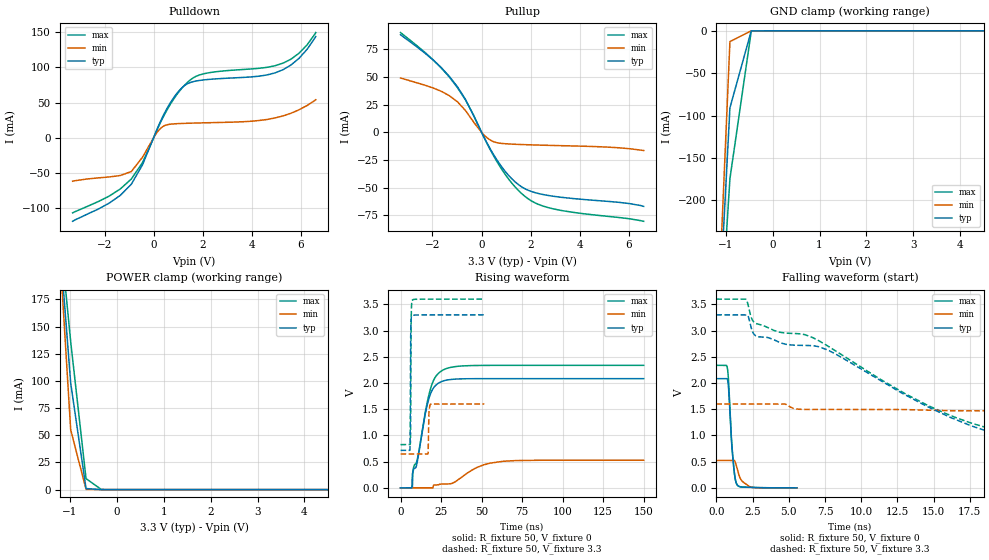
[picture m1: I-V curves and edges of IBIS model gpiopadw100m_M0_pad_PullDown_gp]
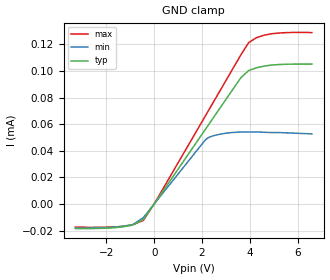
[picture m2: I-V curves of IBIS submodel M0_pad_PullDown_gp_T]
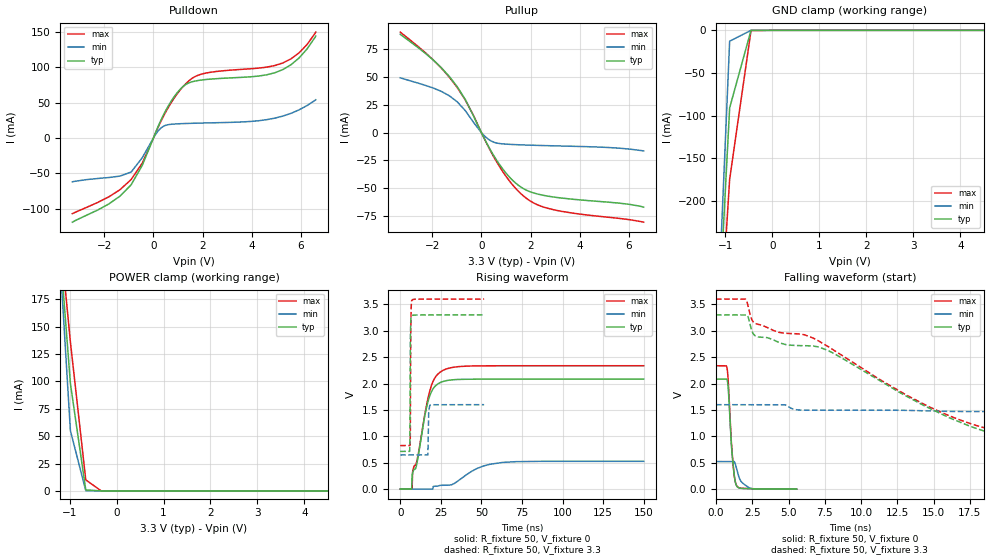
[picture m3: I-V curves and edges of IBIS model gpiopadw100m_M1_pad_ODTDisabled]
|   - ATMEL Microcontrollers -
|   IBIS model for SAM0D20_TQFP48
[IBIS Ver]   4.2
[Comment char]  |_char
[File Name]   sam0d20_3t48.ibs
[File Rev]   1.0
[Date]   6-MAY-2013 17:23:47
[Source]   By GENIBIS V3.2b - GENerate chip IBIS model - 29-APR-2013
[Notes]   Property of ATMEL Corporation
[Disclaimer]
                  (C) Copyright ATMEL Nantes 2002-2013
Atmel Nantes makes no warranty for the use of its products, other than
those expressly contained in the Company's standard warranty which is detailed
in Atmel's Terms and Conditions located on the Company's web site. The Company
assumes no responsability for any errors which may appear in this document.
The user is granted this license only to use the IBIS model and is not granted
rights to sell, load, rent, lease or license the IBIS model in whole or in part,
or in modified form to anyone other than user. User may modify the IBIS model
to suit its specific applications but rights to derivative works and such
modifications shall belong to Atmel Nantes.
This IBIS model is provided on an \"AS IS\" basis and Atmel Nantes makes
absolutely no warranty with respect to the information contained herein.
[Copyright]   Copyright (c) 2002-2013 by ATMEL Nantes SA
|   COMPONENT : SAM0D20_TQFP48
[Component]   SAM0D20_TQFP48
[Manufacturer]  ATMEL Nantes SAS
[Package]
| Package family : TQFP_L
| RLC file   : V1.0
| RLCEDIT tool   : V1.10-2005/10/06
| variable   typ   min   max
R_pkg   129.04m   76.55m   157.56m
L_pkg   3.85n   2.63n   4.53n
C_pkg   283.88f   266.97f   299.68f
[Pin]   signal_name   model_name   R_pin   L_pin   C_pin
|   Real model names   <--->   IBIS model names
|   gpiopadw100m33v1p66k25   gpiopadw100m
|   gpiopadw100m33v1p66k25   gpiopadw100m
|   gpiopadw100m33v1p66k25   gpiopadw100m
|  gpiopadtwifsmw100m33v1p66k25   gpiopadtwifsmw100m
|  gpiopadtwifsmw100m33v1p66k25   gpiopadtwifsmw100m
|  gpiopadtwifsmw100m33v1p66k25   gpiopadtwifsmw100m
|  gpiopadtwifsmw100m33v1p66k25   gpiopadtwifsmw100m
   1   PA00   gpiopadw100m  143.76m   4.16n  283.81f
   2   PA01   gpiopadw100m  134.99m   3.97n  283.43f
   3   PA02   gpiopadw100m  130.80m   3.88n  283.25f
   4   PA03   gpiopadw100m  128.98m   3.85n  283.17f
   5   GNDANA   GND   80.50m   2.80n  289.68f
   6   VDDANA   POWER   92.10m   3.05n  286.31f
   7   PB08   gpiopadw100m  126.88m   3.80n  283.08f
   8   PB09   gpiopadw100m  124.32m   3.75n  282.97f
   9   PA04   gpiopadw100m  125.51m   3.77n  283.02f
   10   PA05   gpiopadw100m  125.94m   3.78n  283.04f
   11   PA06   gpiopadw100m  131.47m   3.90n  283.28f
   12   PA07   gpiopadw100m  139.45m   4.07n  283.63f
   13   PA08   gpiopadtwifsmw100m  153.61m   4.37n  284.24f
   14   PA09   gpiopadtwifsmw100m  145.44m   4.20n  283.88f
   15   PA10   gpiopadw100m  137.95m   4.04n  283.56f
   16   PA11   gpiopadw100m  132.62m   3.92n  283.33f
   17   VDDIO   POWER  130.16m   3.87n  283.22f
   18   GND   GND  130.89m   3.89n  283.26f
   19   PB10   gpiopadw100m  133.52m   3.94n  283.37f
   20   PB11   gpiopadw100m  138.36m   4.05n  283.58f
   21   PA12   gpiopadtwifsmw100m  136.25m   4.00n  283.49f
   22   PA13   gpiopadtwifsmw100m  142.52m   4.14n  283.76f
   23   PA14   gpiopadw100m  148.55m   4.27n  284.02f
   24   PA15   gpiopadw100m  148.24m   4.26n  284.01f
   25   PA16   gpiopadtwifsmw100m  100.27m   3.23n  287.72f
   26   PA17   gpiopadtwifsmw100m  137.72m   4.03n  283.55f
   27   PA18   gpiopadw100m  130.18m   3.87n  283.22f
   28   PA19   gpiopadw100m  125.43m   3.77n  283.02f
   29   PA20   gpiopadw100m  129.30m   3.85n  283.19f
   30   PA21   gpiopadw100m  125.99m   3.78n  283.04f
   31   PA22   gpiopadtwifsmw100m  125.09m   3.76n  283.00f
   32   PA23   gpiopadtwifsmw100m  125.02m   3.76n  283.00f
   33   PA24   gpiopadw100m  128.21m   3.83n  283.14f
   34   PA25   gpiopadw100m  134.23m   3.96n  283.40f
   35   GND   GND  135.36m   3.98n  283.45f
   36   VDDIO   POWER  144.31m   4.17n  283.84f
   37   PB22   gpiopadw100m  140.74m   4.10n  283.68f
   38   PB23   gpiopadw100m  134.03m   3.95n  283.39f
   39   PA27   gpiopadw100m  130.29m   3.87n  283.23f
   40   RESET_N   gpiopadw100m  129.13m   3.85n  283.18f
   41   PA28   gpiopadw100m  131.60m   3.90n  283.29f
   42   GND   GND   94.62m   3.11n  286.74f
   43   VDDCORE   POWER   93.43m   3.08n  286.54f
   44   VDDIO   POWER   92.76m   3.07n  286.42f
   45   PA30   gpiopadw100m  131.15m   3.89n  283.27f
   46   PA31   gpiopadw100m  135.83m   3.99n  283.47f
   47   PB02   gpiopadw100m  134.03m   3.95n  283.39f
   48   PB03   gpiopadw100m  142.44m   4.13n  283.75f
|   MODEL SELECTOR : gpiopadtwifsmw100m
[Model Selector]   gpiopadtwifsmw100m
gpiopadtwifsmw100m_M3_pad_twi   twi mode
gpiopadtwifsmw100m_M2_pad_puodt_gpiop   pull up odt
gpiopadtwifsmw100m_M1_pad_noodt_gpiop   odt disabled
gpiopadtwifsmw100m_M0_pad_pdodt_gpiop   pull down odt
|   MODEL SELECTOR : gpiopadw100m
[Model Selector]   gpiopadw100m
gpiopadw100m_M2_pad_PullUp_gpio   Pull Up
gpiopadw100m_M1_pad_ODTDisabled   ODT Disabled
gpiopadw100m_M0_pad_PullDown_gp   Pull Down
| Models and submodels in the file (11): gpiopadw100m_M0_pad_PullDown_gp (I/O), M0_pad_PullDown_gp_T (Dynamic_clamp), gpiopadw100m_M1_pad_ODTDisabled (I/O), gpiopadw100m_M2_pad_PullUp_gpio (I/O), M2_pad_PullUp_gpio_T (Dynamic_clamp), gpiopadtwifsmw100m_M0_pad_pdodt_gpiop (I/O), M0_pad_pdodt_gpiop_T (Dynamic_clamp), gpiopadtwifsmw100m_M1_pad_noodt_gpiop (I/O), gpiopadtwifsmw100m_M2_pad_puodt_gpiop (I/O), M2_pad_puodt_gpiop_T (Dynamic_clamp), gpiopadtwifsmw100m_M3_pad_twi (I/O_open_sink)
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|   MODEL : gpiopadw100m_M0_pad_PullDown_gp
[Model] gpiopadw100m_M0_pad_PullDown_gp
Model_type I/O
Vinl  =  0.99
Vinh  =  2.31
Vmeas =  1.650
| Capacitance   typ   min   max
C_comp   1.24002p   1.23763p   1.27582p
| Variables   typ   min   max
[GND Clamp Reference]   0   0   0
[POWER Clamp Reference]   3.3   1.6   3.6
[Pulldown Reference]   0   0   0
[Pullup Reference]   3.3   1.6   3.6
[Temperature Range]   25   -40   105
[Voltage Range]   3.3   1.6   3.6
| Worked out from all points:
|   slope of the pulldown table from 0 to 0.495 V, typ, clamps not added: 12.9 ohm
|   slope of the pullup table from 0 to 0.495 V, typ, clamps not added: 24.3 ohm
|   falling waveform, R_fixture 50, V_fixture 0: 20-80 % time 299ps typ, 492ps min, 300ps max; typ from 2.08 V to 0.001 V
|   falling waveform, R_fixture 50, V_fixture 3.3: 20-80 % time 12.8ns typ, 35ns min, 12.5ns max; typ from 3.3 V to 0.715 V
|   rising waveform, R_fixture 50, V_fixture 0: 20-80 % time 7.4ns typ, 16.7ns min, 8.69ns max; typ from 0 V to 2.08 V
|   rising waveform, R_fixture 50, V_fixture 3.3: 20-80 % time 217ps typ, 319ps min, 221ps max; typ from 0.715 V to 3.3 V
[GND Clamp]
| Voltage   I(typ)   I(min)   I(max)
-3.3V     -2.634A    -3.19A     -2.302A
-1.364V   -570.8mA   -594.8mA   -573.1mA
-909.1mV  -90.85mA   -12.72mA   -174.6mA
-454.5mV  -20.67uA   -222.6nA   -356.4uA
6.6V      0A         0A         0A
[POWER Clamp]
| Voltage   I(typ)   I(min)   I(max)
-3.3V     1.751A     2.103A     1.493A
-1.309V   280.3mA    286mA      281.7mA
-981.8mV  98.06mA    55.04mA    136mA
-654.5mV  963uA      216.9uA    10.07mA
-327.3mV  1.354uA    8.417nA    98.06uA
6.6V      0A         0A         0A
[Pulldown]
| Voltage   I(typ)   I(min)   I(max)
-3.3V     -119mA     -61.98mA   -107mA
-1.818V   -93.33mA   -55.91mA   -83.28mA
-909.1mV  -66.28mA   -48.18mA   -58.8mA
-454.5mV  -38.59mA   -27.85mA   -35.52mA
309.4mV   25.56mA    14.14mA    23.9mA
773.4mV   54.8mA     19.53mA    52.8mA
1.238V    73.69mA    20.38mA    73.94mA
1.598V    79.67mA    20.77mA    84.92mA
2.062V    82.36mA    21.18mA    91.19mA
4.936V    92.21mA    28.04mA    102.4mA
5.918V    113mA      39.7mA     120.2mA
6.6V      144.1mA    54mA       149.7mA
[Pullup]
| Voltage   I(typ)   I(min)   I(max)
-3.3V     88.24mA    49.15mA    90.19mA
-1.964V   65.21mA    40.03mA    65.35mA
-981.8mV  41.15mA    27.61mA    40.42mA
-654.5mV  29.72mA    19.7mA     29.25mA
-327.3mV  15.24mA    9.418mA    15.62mA
51.56mV   -2.336mA   -1.279mA   -2.314mA
360.9mV   -15.31mA   -7.05mA    -16.02mA
1.083V    -38.48mA   -10.47mA   -41.7mA
1.805V    -51.42mA   -11.17mA   -58.57mA
2.32V     -55.33mA   -11.52mA   -65.17mA
3.042V    -58.15mA   -11.95mA   -69.75mA
6.6V      -66.94mA   -16.45mA   -80.43mA
[Ramp]
dV/dt_r   1.24997/7.40251n  0.314091/16.5147n  1.40232/8.68884n
dV/dt_f   1.55089/12.8345n  0.573997/35.0183n  1.66518/12.5246n
R_load = 50
[Falling Waveform]
R_fixture = 50
V_fixture = 0
V_fixture_min = 0
V_fixture_max = 0
| Time   V(typ)   V(min)   V(max)
0s        2.083V     523.3mV    2.337V
766.8ps   2.071V     523.3mV    2.283V
859.1ps   1.854V     523.3mV    1.98V
1.016ns   1.031V     523.3mV    1.086V
1.166ns   507.3mV    523.3mV    511.5mV
1.301ns   182.1mV    499mV      180.2mV
1.456ns   49.46mV    351.4mV    51.8mV
1.737ns   16.79mV    143.7mV    17.7mV
2.377ns   11.46mV    15.09mV    11.25mV
5.563ns   974.4uV    463.6uV    868.6uV
[Falling Waveform]
R_fixture = 50
V_fixture = 3.3
V_fixture_min = 1.6
V_fixture_max = 3.6
| Time   V(typ)   V(min)   V(max)
0s        3.3V       1.6V       3.6V
2.025ns   3.299V     1.599V     3.599V
2.467ns   3.006V     1.599V     3.213V
2.726ns   2.9V       1.599V     3.135V
7.623ns   2.639V     1.496V     2.718V
16.56ns   1.298V     1.471V     1.337V
19.86ns   995.9mV    1.47V      1.078V
23.59ns   851.1mV    1.469V     959.9mV
75.53ns   715.4mV    777.3mV    825.1mV
150ns     715mV      643.3mV    824.6mV
[Rising Waveform]
R_fixture = 50
V_fixture = 0
V_fixture_min = 0
V_fixture_max = 0
| Time   V(typ)   V(min)   V(max)
0s        2.426nV    1.414nV    231.1nV
7.015ns   1.373mV    1.414nV    231.1nV
7.273ns   249.7mV    1.414nV    1.092mV
7.688ns   306.6mV    1.414nV    339.6mV
10.15ns   466.4mV    1.414nV    517.8mV
17.83ns   1.736V     1.414nV    1.816V
21.13ns   1.938V     54.42mV    2.096V
26.11ns   2.036V     74.09mV    2.247V
63.28ns   2.083V     507.2mV    2.337V
150ns     2.083V     527.1mV    2.337V
[Rising Waveform]
R_fixture = 50
V_fixture = 3.3
V_fixture_min = 1.6
V_fixture_max = 3.6
| Time   V(typ)   V(min)   V(max)
0s        715.2mV    647.1mV    824.7mV
5.764ns   715.9mV    647.1mV    824.7mV
6.051ns   1.67V      647.1mV    842mV
6.232ns   2.824V     647.1mV    1.111V
6.51ns    3.197V     647.1mV    3.089V
7.104ns   3.28V      647.1mV    3.577V
17.01ns   3.299V     647.5mV    3.599V
17.47ns   3.299V     1.414V     3.599V
18.37ns   3.3V       1.593V     3.599V
51.69ns   3.3V       1.6V       3.6V
[Add Submodel]
| Submodel Name Mode
M0_pad_PullDown_gp_T Non-Driving
| Submodel
[Submodel]  M0_pad_PullDown_gp_T
Submodel_type Dynamic_clamp
[GND Clamp]
| Voltage   I(typ)   I(min)   I(max)
-3.3V     -18.53uA   -18.06uA   -17.4uA
-1.818V   -18.12uA   -17.64uA   -17.46uA
-909.1mV  -15.94uA   -15.68uA   -15.74uA
-454.5mV  -11.7uA    -10.25uA   -12.4uA
0V        13.22pA    6.228pA    323.5pA
2.166V    56.71uA    48.48uA    66.94uA
2.681V    70.21uA    52.14uA    82.88uA
3.627V    94.95uA    54.06uA    112.1uA
3.955V    100.3uA    54.12uA    121.3uA
4.282V    102.4uA    54.12uA    125.1uA
4.936V    104.5uA    53.64uA    128uA
6.6V      105.1uA    52.67uA    128.9uA
|   MODEL : gpiopadw100m_M1_pad_ODTDisabled
[Model] gpiopadw100m_M1_pad_ODTDisabled
Model_type I/O
Vinl  =  0.99
Vinh  =  2.31
Vmeas =  1.650
| Capacitance   typ   min   max
C_comp   1.24002p   1.23763p   1.27582p
| Variables   typ   min   max
[GND Clamp Reference]   0   0   0
[POWER Clamp Reference]   3.3   1.6   3.6
[Pulldown Reference]   0   0   0
[Pullup Reference]   3.3   1.6   3.6
[Temperature Range]   25   -40   105
[Voltage Range]   3.3   1.6   3.6
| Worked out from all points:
|   slope of the pulldown table from 0 to 0.495 V, typ, clamps not added: 12.9 ohm
|   slope of the pullup table from 0 to 0.495 V, typ, clamps not added: 24.3 ohm
|   falling waveform, R_fixture 50, V_fixture 0: 20-80 % time 299ps typ, 492ps min, 300ps max; typ from 2.08 V to 0.001 V
|   falling waveform, R_fixture 50, V_fixture 3.3: 20-80 % time 12.8ns typ, 35ns min, 12.5ns max; typ from 3.3 V to 0.715 V
|   rising waveform, R_fixture 50, V_fixture 0: 20-80 % time 7.4ns typ, 16.7ns min, 8.69ns max; typ from 0 V to 2.08 V
|   rising waveform, R_fixture 50, V_fixture 3.3: 20-80 % time 217ps typ, 319ps min, 221ps max; typ from 0.715 V to 3.3 V
[GND Clamp]
| Voltage   I(typ)   I(min)   I(max)
-3.3V     -2.634A    -3.19A     -2.302A
-1.364V   -570.8mA   -594.8mA   -573.1mA
-909.1mV  -90.85mA   -12.72mA   -174.6mA
-454.5mV  -20.67uA   -222.6nA   -356.4uA
6.6V      0A         0A         0A
[POWER Clamp]
| Voltage   I(typ)   I(min)   I(max)
-3.3V     1.751A     2.103A     1.493A
-1.309V   280.3mA    286mA      281.7mA
-981.8mV  98.06mA    55.04mA    136mA
-654.5mV  963uA      216.9uA    10.07mA
-327.3mV  1.354uA    8.417nA    98.06uA
6.6V      0A         0A         0A
[Pulldown]
| Voltage   I(typ)   I(min)   I(max)
-3.3V     -119mA     -61.98mA   -107mA
-1.818V   -93.33mA   -55.91mA   -83.28mA
-909.1mV  -66.28mA   -48.18mA   -58.8mA
-454.5mV  -38.59mA   -27.85mA   -35.52mA
309.4mV   25.56mA    14.14mA    23.9mA
773.4mV   54.8mA     19.53mA    52.8mA
1.238V    73.69mA    20.38mA    73.94mA
1.598V    79.67mA    20.77mA    84.92mA
2.062V    82.36mA    21.18mA    91.19mA
4.936V    92.21mA    28.04mA    102.4mA
5.918V    113mA      39.7mA     120.2mA
6.6V      144.1mA    54mA       149.7mA
[Pullup]
| Voltage   I(typ)   I(min)   I(max)
-3.3V     88.24mA    49.15mA    90.19mA
-1.964V   65.21mA    40.03mA    65.35mA
-981.8mV  41.15mA    27.61mA    40.42mA
-654.5mV  29.72mA    19.7mA     29.25mA
-327.3mV  15.24mA    9.418mA    15.62mA
51.56mV   -2.336mA   -1.279mA   -2.314mA
360.9mV   -15.31mA   -7.05mA    -16.02mA
1.083V    -38.48mA   -10.47mA   -41.7mA
1.805V    -51.42mA   -11.17mA   -58.57mA
2.32V     -55.33mA   -11.52mA   -65.17mA
3.042V    -58.15mA   -11.95mA   -69.75mA
6.6V      -66.94mA   -16.45mA   -80.43mA
[Ramp]
dV/dt_r   1.24997/7.40251n  0.314091/16.5147n  1.40232/8.68884n
dV/dt_f   1.55089/12.8345n  0.573997/35.0183n  1.66518/12.5246n
R_load = 50
[Falling Waveform]
R_fixture = 50
V_fixture = 0
V_fixture_min = 0
V_fixture_max = 0
| Time   V(typ)   V(min)   V(max)
0s        2.083V     523.3mV    2.337V
766.8ps   2.071V     523.3mV    2.283V
859.1ps   1.854V     523.3mV    1.98V
1.016ns   1.031V     523.3mV    1.086V
1.166ns   507.3mV    523.3mV    511.5mV
1.301ns   182.1mV    499mV      180.2mV
1.456ns   49.46mV    351.4mV    51.8mV
1.737ns   16.79mV    143.7mV    17.7mV
2.377ns   11.46mV    15.09mV    11.25mV
5.563ns   974.4uV    463.6uV    868.6uV
[Falling Waveform]
R_fixture = 50
V_fixture = 3.3
V_fixture_min = 1.6
V_fixture_max = 3.6
| Time   V(typ)   V(min)   V(max)
0s        3.3V       1.6V       3.6V
2.025ns   3.299V     1.599V     3.599V
2.467ns   3.006V     1.599V     3.213V
2.726ns   2.9V       1.599V     3.135V
7.623ns   2.639V     1.496V     2.718V
16.56ns   1.298V     1.471V     1.337V
19.86ns   995.9mV    1.47V      1.078V
23.59ns   851.1mV    1.469V     959.9mV
75.53ns   715.4mV    777.3mV    825.1mV
150ns     715mV      643.3mV    824.6mV
[Rising Waveform]
R_fixture = 50
V_fixture = 0
V_fixture_min = 0
V_fixture_max = 0
| Time   V(typ)   V(min)   V(max)
0s        2.426nV    1.414nV    231.1nV
7.015ns   1.373mV    1.414nV    231.1nV
7.273ns   249.7mV    1.414nV    1.092mV
7.688ns   306.6mV    1.414nV    339.6mV
10.15ns   466.4mV    1.414nV    517.8mV
17.83ns   1.736V     1.414nV    1.816V
21.13ns   1.938V     54.42mV    2.096V
26.11ns   2.036V     74.09mV    2.247V
63.28ns   2.083V     507.2mV    2.337V
150ns     2.083V     527.1mV    2.337V
[Rising Waveform]
R_fixture = 50
V_fixture = 3.3
V_fixture_min = 1.6
V_fixture_max = 3.6
| Time   V(typ)   V(min)   V(max)
0s        715.2mV    647.1mV    824.7mV
5.764ns   715.9mV    647.1mV    824.7mV
6.051ns   1.67V      647.1mV    842mV
6.232ns   2.824V     647.1mV    1.111V
6.51ns    3.197V     647.1mV    3.089V
7.104ns   3.28V      647.1mV    3.577V
17.01ns   3.299V     647.5mV    3.599V
17.47ns   3.299V     1.414V     3.599V
18.37ns   3.3V       1.593V     3.599V
51.69ns   3.3V       1.6V       3.6V
